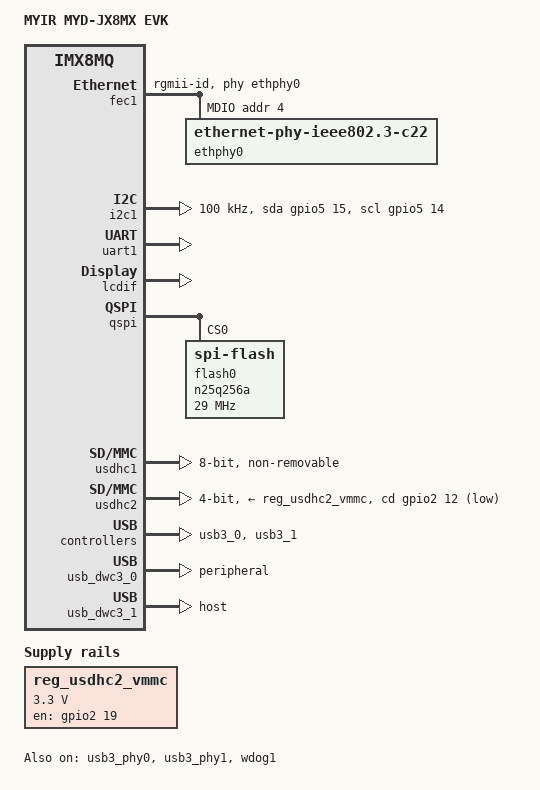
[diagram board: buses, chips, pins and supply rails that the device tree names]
// SPDX-License-Identifier: GPL-2.0+
/*
 * Copyright 2018 NXP
 */

/dts-v1/;

/* First 128KB is for PSCI ATF. */
/memreserve/ 0x40000000 0x00020000;

#include "myd-jx8mx.dtsi"

/ {
	model = "MYIR MYD-JX8MX EVK";
	compatible = "fsl,imx8mq-evk", "fsl,imx8mq";

	chosen {
		bootargs = "console=ttymxc0,115200 earlycon=ec_imx6q,0x30860000,115200";
		stdout-path = &uart1;
	};

	firmware {
		optee {
			compatible = "linaro,optee-tz";
			method = "smc";
		};
	};

	regulators {
		compatible = "simple-bus";
		#address-cells = <1>;
		#size-cells = <0>;

		reg_usdhc2_vmmc: usdhc2_vmmc {
			compatible = "regulator-fixed";
			regulator-name = "VSD_3V3";
			regulator-min-microvolt = <3300000>;
			regulator-max-microvolt = <3300000>;
			gpio = <&gpio2 19 GPIO_ACTIVE_HIGH>;
			u-boot,off-on-delay-us = <20000>;
			enable-active-high;
		};
	};


};

&iomuxc {
	pinctrl-names = "default";

	imx8mq-evk {
		pinctrl_fec1: fec1grp {
			fsl,pins = <
				MX8MQ_IOMUXC_ENET_MDC_ENET1_MDC		0x3
				MX8MQ_IOMUXC_ENET_MDIO_ENET1_MDIO	0x23
				MX8MQ_IOMUXC_ENET_TD3_ENET1_RGMII_TD3	0x1f
				MX8MQ_IOMUXC_ENET_TD2_ENET1_RGMII_TD2	0x1f
				MX8MQ_IOMUXC_ENET_TD1_ENET1_RGMII_TD1	0x1f
				MX8MQ_IOMUXC_ENET_TD0_ENET1_RGMII_TD0	0x1f
				MX8MQ_IOMUXC_ENET_RD3_ENET1_RGMII_RD3	0x91
				MX8MQ_IOMUXC_ENET_RD2_ENET1_RGMII_RD2	0x91
				MX8MQ_IOMUXC_ENET_RD1_ENET1_RGMII_RD1	0x91
				MX8MQ_IOMUXC_ENET_RD0_ENET1_RGMII_RD0	0x91
				MX8MQ_IOMUXC_ENET_TXC_ENET1_RGMII_TXC	0x1f
				MX8MQ_IOMUXC_ENET_RXC_ENET1_RGMII_RXC	0x91
				MX8MQ_IOMUXC_ENET_RX_CTL_ENET1_RGMII_RX_CTL	0x91
				MX8MQ_IOMUXC_ENET_TX_CTL_ENET1_RGMII_TX_CTL	0x1f
				MX8MQ_IOMUXC_GPIO1_IO09_GPIO1_IO9	0x19
			>;
		};

		pinctrl_i2c1: i2c1grp {
			fsl,pins = <
				MX8MQ_IOMUXC_I2C1_SCL_I2C1_SCL	0x4000007f
				MX8MQ_IOMUXC_I2C1_SDA_I2C1_SDA	0x4000007f
			>;
		};

		pinctrl_i2c2: i2c2grp {
			fsl,pins = <
				MX8MQ_IOMUXC_I2C2_SCL_I2C2_SCL	0x40000067
				MX8MQ_IOMUXC_I2C2_SDA_I2C2_SDA	0x40000067
			>;
		};

		pinctrl_i2c1_gpio: i2c1grp-gpio {
			fsl,pins = <
				MX8MQ_IOMUXC_I2C1_SCL_GPIO5_IO14        		0x7f
				MX8MQ_IOMUXC_I2C1_SDA_GPIO5_IO15        		0x7f
			>;
		};

		pinctrl_i2c2_gpio: i2c2grp-gpio {
			fsl,pins = <
				MX8MQ_IOMUXC_I2C2_SCL_GPIO5_IO16        		0x7f
				MX8MQ_IOMUXC_I2C2_SDA_GPIO5_IO17        		0x7f
			>;
		};



		pinctrl_qspi: qspigrp {
			fsl,pins = <
				MX8MQ_IOMUXC_NAND_ALE_QSPI_A_SCLK	0x82
				MX8MQ_IOMUXC_NAND_CE0_B_QSPI_A_SS0_B	0x82
				MX8MQ_IOMUXC_NAND_DATA00_QSPI_A_DATA0	0x82
				MX8MQ_IOMUXC_NAND_DATA01_QSPI_A_DATA1	0x82
				MX8MQ_IOMUXC_NAND_DATA02_QSPI_A_DATA2	0x82
				MX8MQ_IOMUXC_NAND_DATA03_QSPI_A_DATA3	0x82

			>;
		};

		pinctrl_uart1: uart1grp {
			fsl,pins = <
				MX8MQ_IOMUXC_UART1_RXD_UART1_DCE_RX		0x49
				MX8MQ_IOMUXC_UART1_TXD_UART1_DCE_TX		0x49
			>;
		};



		pinctrl_usdhc1: usdhc1grp {
			fsl,pins = <
				MX8MQ_IOMUXC_SD1_CLK_USDHC1_CLK		0x83
				MX8MQ_IOMUXC_SD1_CMD_USDHC1_CMD		0xc3
				MX8MQ_IOMUXC_SD1_DATA0_USDHC1_DATA0	0xc3
				MX8MQ_IOMUXC_SD1_DATA1_USDHC1_DATA1	0xc3
				MX8MQ_IOMUXC_SD1_DATA2_USDHC1_DATA2	0xc3
				MX8MQ_IOMUXC_SD1_DATA3_USDHC1_DATA3	0xc3
				MX8MQ_IOMUXC_SD1_DATA4_USDHC1_DATA4	0xc3
				MX8MQ_IOMUXC_SD1_DATA5_USDHC1_DATA5	0xc3
				MX8MQ_IOMUXC_SD1_DATA6_USDHC1_DATA6	0xc3
				MX8MQ_IOMUXC_SD1_DATA7_USDHC1_DATA7	0xc3
				MX8MQ_IOMUXC_SD1_STROBE_USDHC1_STROBE	0x83
				MX8MQ_IOMUXC_SD1_RESET_B_USDHC1_RESET_B	0xc1
			>;
		};

		pinctrl_usdhc1_100mhz: usdhc1grp100mhz {
			fsl,pins = <
				MX8MQ_IOMUXC_SD1_CLK_USDHC1_CLK			0x8d
				MX8MQ_IOMUXC_SD1_CMD_USDHC1_CMD			0xcd
				MX8MQ_IOMUXC_SD1_DATA0_USDHC1_DATA0		0xcd
				MX8MQ_IOMUXC_SD1_DATA1_USDHC1_DATA1		0xcd
				MX8MQ_IOMUXC_SD1_DATA2_USDHC1_DATA2		0xcd
				MX8MQ_IOMUXC_SD1_DATA3_USDHC1_DATA3		0xcd
				MX8MQ_IOMUXC_SD1_DATA4_USDHC1_DATA4		0xcd
				MX8MQ_IOMUXC_SD1_DATA5_USDHC1_DATA5		0xcd
				MX8MQ_IOMUXC_SD1_DATA6_USDHC1_DATA6		0xcd
				MX8MQ_IOMUXC_SD1_DATA7_USDHC1_DATA7		0xcd
				MX8MQ_IOMUXC_SD1_STROBE_USDHC1_STROBE 		0x8d
				MX8MQ_IOMUXC_SD1_RESET_B_USDHC1_RESET_B		0xc1
			>;
		};

		pinctrl_usdhc1_200mhz: usdhc1grp200mhz {
			fsl,pins = <
				MX8MQ_IOMUXC_SD1_CLK_USDHC1_CLK			0x9f
				MX8MQ_IOMUXC_SD1_CMD_USDHC1_CMD			0xdf
				MX8MQ_IOMUXC_SD1_DATA0_USDHC1_DATA0		0xdf
				MX8MQ_IOMUXC_SD1_DATA1_USDHC1_DATA1		0xdf
				MX8MQ_IOMUXC_SD1_DATA2_USDHC1_DATA2		0xdf
				MX8MQ_IOMUXC_SD1_DATA3_USDHC1_DATA3		0xdf
				MX8MQ_IOMUXC_SD1_DATA4_USDHC1_DATA4		0xdf
				MX8MQ_IOMUXC_SD1_DATA5_USDHC1_DATA5		0xdf
				MX8MQ_IOMUXC_SD1_DATA6_USDHC1_DATA6		0xdf
				MX8MQ_IOMUXC_SD1_DATA7_USDHC1_DATA7		0xdf
				MX8MQ_IOMUXC_SD1_STROBE_USDHC1_STROBE 		0x9f
				MX8MQ_IOMUXC_SD1_RESET_B_USDHC1_RESET_B		0xc1
			>;
		};

		pinctrl_usdhc2_gpio: usdhc2grpgpio {
			fsl,pins = <
				MX8MQ_IOMUXC_SD2_CD_B_GPIO2_IO12	0x41
				MX8MQ_IOMUXC_SD2_RESET_B_GPIO2_IO19	0x41
			>;
		};

		pinctrl_usdhc2: usdhc2grp {
			fsl,pins = <
				MX8MQ_IOMUXC_SD2_CLK_USDHC2_CLK		0x83
				MX8MQ_IOMUXC_SD2_CMD_USDHC2_CMD		0xc3
				MX8MQ_IOMUXC_SD2_DATA0_USDHC2_DATA0	0xc3
				MX8MQ_IOMUXC_SD2_DATA1_USDHC2_DATA1	0xc3
				MX8MQ_IOMUXC_SD2_DATA2_USDHC2_DATA2	0xc3
				MX8MQ_IOMUXC_SD2_DATA3_USDHC2_DATA3	0xc3
				MX8MQ_IOMUXC_GPIO1_IO04_USDHC2_VSELECT	0xc1
			>;
		};

		pinctrl_usdhc2_100mhz: usdhc2grp100mhz {
			fsl,pins = <
				MX8MQ_IOMUXC_SD2_CLK_USDHC2_CLK			0x8d
				MX8MQ_IOMUXC_SD2_CMD_USDHC2_CMD			0xcd
				MX8MQ_IOMUXC_SD2_DATA0_USDHC2_DATA0		0xcd
				MX8MQ_IOMUXC_SD2_DATA1_USDHC2_DATA1		0xcd
				MX8MQ_IOMUXC_SD2_DATA2_USDHC2_DATA2		0xcd
				MX8MQ_IOMUXC_SD2_DATA3_USDHC2_DATA3		0xcd
				MX8MQ_IOMUXC_GPIO1_IO04_USDHC2_VSELECT		0xc1
			>;
		};

		pinctrl_usdhc2_200mhz: usdhc2grp200mhz {
			fsl,pins = <
				MX8MQ_IOMUXC_SD2_CLK_USDHC2_CLK			0x9f
				MX8MQ_IOMUXC_SD2_CMD_USDHC2_CMD			0xdf
				MX8MQ_IOMUXC_SD2_DATA0_USDHC2_DATA0		0xdf
				MX8MQ_IOMUXC_SD2_DATA1_USDHC2_DATA1		0xdf
				MX8MQ_IOMUXC_SD2_DATA2_USDHC2_DATA2		0xdf
				MX8MQ_IOMUXC_SD2_DATA3_USDHC2_DATA3		0xdf
				MX8MQ_IOMUXC_GPIO1_IO04_USDHC2_VSELECT		0xc1
			>;
		};



		pinctrl_wdog: wdoggrp {
			fsl,pins = <
				MX8MQ_IOMUXC_GPIO1_IO02_WDOG1_WDOG_B 0xc6
			>;
		};
	};
};

&fec1 {
	pinctrl-names = "default";
	pinctrl-0 = <&pinctrl_fec1>;
	phy-mode = "rgmii-id";
	phy-handle = <&ethphy0>;
	fsl,magic-packet;
	status = "okay";

	mdio {
		#address-cells = <1>;
		#size-cells = <0>;

		ethphy0: ethernet-phy@0 {
			compatible = "ethernet-phy-ieee802.3-c22";
			reg = <4>;
			at803x,led-act-blind-workaround;
			at803x,eee-disabled;
		};
	};
};

&i2c1 {
	clock-frequency = <100000>;
	pinctrl-names = "default", "gpio";
	pinctrl-0 = <&pinctrl_i2c1>;
	pinctrl-1 = <&pinctrl_i2c1_gpio>;
	scl-gpios = <&gpio5 14 GPIO_ACTIVE_HIGH>;
	sda-gpios = <&gpio5 15 GPIO_ACTIVE_HIGH>;
	status = "okay";

};

&i2c2 {
	clock-frequency = <100000>;
	pinctrl-names = "default", "gpio";
	pinctrl-0 = <&pinctrl_i2c2>;
	pinctrl-1 = <&pinctrl_i2c2_gpio>;
	scl-gpios = <&gpio5 16 GPIO_ACTIVE_HIGH>;
	sda-gpios = <&gpio5 17 GPIO_ACTIVE_HIGH>;
	status = "disabled";
};

&pwm2 {
	pinctrl-names = "default";
	status = "disabled";
};

&uart1 { /* console */
	pinctrl-names = "default";
	pinctrl-0 = <&pinctrl_uart1>;
	assigned-clocks = <&clk IMX8MQ_CLK_UART1_SRC>;
	assigned-clock-parents = <&clk IMX8MQ_CLK_25M>;
	status = "okay";
};

&lcdif {
	status = "okay";
	disp-dev = "mipi_dsi_northwest";
	display = <&display0>;

	display0: display@0 {
		bits-per-pixel = <24>;
		bus-width = <24>;

		display-timings {
			native-mode = <&timing0>;
			timing0: timing0 {
			clock-frequency = <9200000>;
			hactive = <480>;
			vactive = <272>;
			hfront-porch = <8>;
			hback-porch = <4>;
			hsync-len = <41>;
			vback-porch = <2>;
			vfront-porch = <4>;
			vsync-len = <10>;

			hsync-active = <0>;
			vsync-active = <0>;
			de-active = <1>;
			pixelclk-active = <0>;
			};
		};
	};
};

&qspi {
	pinctrl-names = "default";
	pinctrl-0 = <&pinctrl_qspi>;
	status = "okay";

	flash0: n25q256a@0 {
		reg = <0>;
		#address-cells = <1>;
		#size-cells = <1>;
		compatible = "spi-flash";
		spi-max-frequency = <29000000>;
		spi-nor,ddr-quad-read-dummy = <6>;
	};
};

&usdhc1 {
	pinctrl-names = "default", "state_100mhz", "state_200mhz";
	pinctrl-0 = <&pinctrl_usdhc1>;
	pinctrl-1 = <&pinctrl_usdhc1_100mhz>;
	pinctrl-2 = <&pinctrl_usdhc1_200mhz>;
	bus-width = <8>;
	non-removable;
	status = "okay";
};

&usdhc2 {
	pinctrl-names = "default", "state_100mhz", "state_200mhz";
	pinctrl-0 = <&pinctrl_usdhc2>, <&pinctrl_usdhc2_gpio>;
	pinctrl-1 = <&pinctrl_usdhc2_100mhz>, <&pinctrl_usdhc2_gpio>;
	pinctrl-2 = <&pinctrl_usdhc2_200mhz>, <&pinctrl_usdhc2_gpio>;
	bus-width = <4>;
	cd-gpios = <&gpio2 12 GPIO_ACTIVE_LOW>;
	vmmc-supply = <&reg_usdhc2_vmmc>;
	status = "okay";
};

&usb3_phy0 {
	status = "okay";
};

&usb3_0 {
	status = "okay";
};

&usb_dwc3_0 {
	status = "okay";
	dr_mode = "peripheral";
};

&usb3_phy1 {
	status = "okay";
};

&usb3_1 {
	status = "okay";
};

&usb_dwc3_1 {
	status = "okay";
	dr_mode = "host";
};

&wdog1 {
	pinctrl-names = "default";
	pinctrl-0 = <&pinctrl_wdog>;
	fsl,ext-reset-output;
	status = "okay";
};
